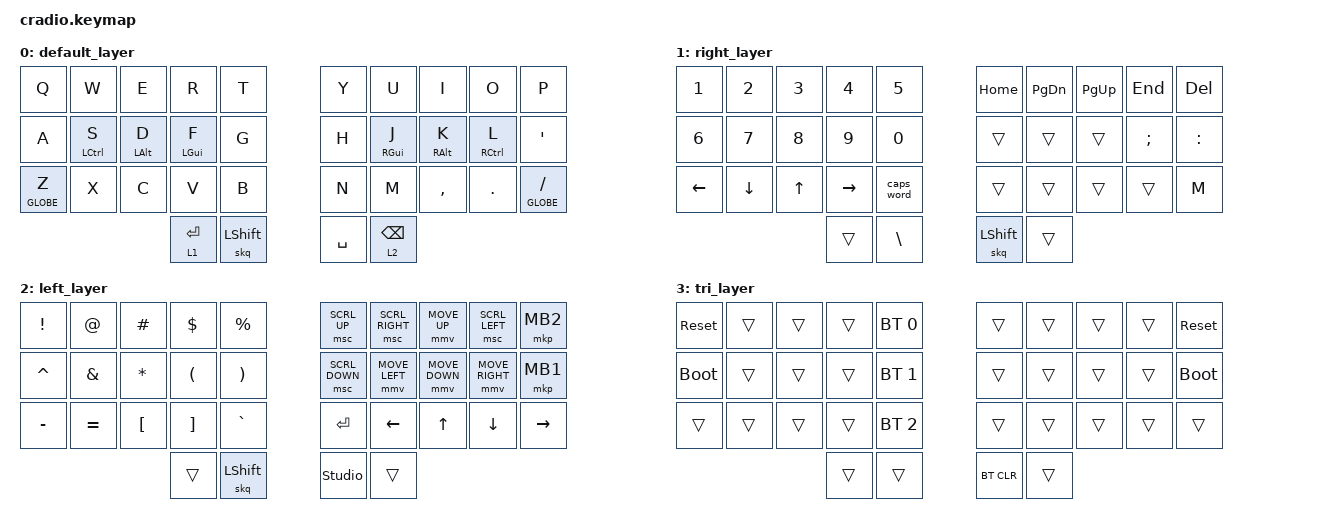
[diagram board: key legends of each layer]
// Copyright (c) 2022 The ZMK Contributors
// SPDX-License-Identifier: MIT

#define ZMK_POINTING_DEFAULT_MOVE_VAL 1500  // default: 600
#define ZMK_POINTING_DEFAULT_SCRL_VAL 20    // default: 10

#include <behaviors.dtsi>
#include <dt-bindings/zmk/bt.h>
#include <dt-bindings/zmk/keys.h>
#include <dt-bindings/zmk/pointing.h>

/ {
    behaviors {
        HML: hold_tap {
            compatible = "zmk,behavior-hold-tap";
            #binding-cells = <2>;
            flavor = "tap-preferred";
            tapping-term-ms = <220>;
            quick-tap-ms = <150>;
            require-prior-idle-ms = <100>;
            bindings = <&kp>, <&kp>;

            hold-trigger-key-positions = <5 6 7 8 9 15 16 17 18 19 25 26 27 28 29 32 33>;
        };

        HMR: HMR {
            compatible = "zmk,behavior-hold-tap";
            #binding-cells = <2>;
            flavor = "balanced";
            tapping-term-ms = <220>;
            quick-tap-ms = <150>;
            require-prior-idle-ms = <100>;
            bindings = <&kp>, <&kp>;

            label = "HMR";
            hold-trigger-key-positions = <0 1 2 3 4 10 11 12 13 14 20 21 22 23 24 30 31>;
        };

        skq: skq {
            compatible = "zmk,behavior-sticky-key";
            label = "SKQ";
            bindings = <&sk>;
            #binding-cells = <1>;
            release-after-ms = <1000>;
            quick-release;
            ignore-modifiers;
        };
    };

    conditional_layers {
        compatible = "zmk,conditional-layers";

        tri_layer {
            if-layers = <1 2>;
            then-layer = <3>;
        };
    };

    combos {
        compatible = "zmk,combos";

        PrevWord {
            bindings = <&kp LS(LA(LEFT_ARROW))>;
            key-positions = <10 11>;
            timeout-ms = <30>;
            require-prior-idle-ms = <200>;
            layers = <0>;
        };

        NextWord {
            bindings = <&kp LS(LA(RIGHT))>;
            key-positions = <18 19>;
            timeout-ms = <30>;
            require-prior-idle-ms = <200>;
            layers = <0>;
        };

        NextTab {
            bindings = <&kp LG(LS(RIGHT_BRACKET))>;
            key-positions = <5 6>;
            timeout-ms = <30>;
            require-prior-idle-ms = <200>;
            layers = <0>;
        };

        enter {
            bindings = <&kp ENTER>;
            key-positions = <2 3>;
            timeout-ms = <30>;
            require-prior-idle-ms = <200>;
            layers = <0>;
        };

        backspace {
            bindings = <&kp BACKSPACE>;
            key-positions = <6 7>;
            timeout-ms = <30>;
            require-prior-idle-ms = <200>;
            layers = <0>;
        };

        undo {
            bindings = <&kp LG(Z)>;
            key-positions = <20 21>;
            timeout-ms = <30>;
            require-prior-idle-ms = <200>;
            layers = <0>;
        };

        copy {
            bindings = <&kp LG(C)>;
            key-positions = <21 22>;
            timeout-ms = <30>;
            require-prior-idle-ms = <200>;
            layers = <0>;
        };

        paste {
            bindings = <&kp LG(V)>;
            key-positions = <22 23>;
            timeout-ms = <30>;
            require-prior-idle-ms = <200>;
            layers = <0>;
        };

        cut {
            bindings = <&kp LG(X)>;
            key-positions = <21 23>;
            timeout-ms = <30>;
            require-prior-idle-ms = <200>;
            layers = <0>;
        };

        delete {
            bindings = <&kp DELETE>;
            key-positions = <7 8>;
            timeout-ms = <30>;
            require-prior-idle-ms = <200>;
            layers = <0>;
        };

        find {
            bindings = <&kp LG(F)>;
            key-positions = <13 14>;
            timeout-ms = <30>;
            require-prior-idle-ms = <200>;
            layers = <0>;
        };

        PrevParagraph {
            bindings = <&kp LA(LS(UP_ARROW))>;
            key-positions = <12 11>;
            timeout-ms = <30>;
            require-prior-idle-ms = <200>;
            layers = <0>;
        };

        nextParagraph {
            bindings = <&kp LA(LS(DOWN))>;
            key-positions = <17 18>;
            timeout-ms = <30>;
            require-prior-idle-ms = <200>;
            layers = <0>;
        };

        tab {
            bindings = <&kp TAB>;
            key-positions = <0 1>;
            timeout-ms = <30>;
            require-prior-idle-ms = <200>;
            layers = <0>;
        };

        PrevTab {
            bindings = <&kp LG(LS(LEFT_BRACKET))>;
            key-positions = <3 4>;
            timeout-ms = <30>;
            require-prior-idle-ms = <200>;
            layers = <0>;
        };

        newTab {
            bindings = <&kp LG(T)>;
            key-positions = <15 16>;
            timeout-ms = <30>;
            require-prior-idle-ms = <200>;
            layers = <0>;
        };

        cycleWindows {
            bindings = <&kp LG(GRAVE)>;
            key-positions = <18 19>;
            timeout-ms = <30>;
            require-prior-idle-ms = <200>;
            layers = <0>;
        };

        esc {
            bindings = <&kp ESCAPE>;
            key-positions = <8 9>;
            timeout-ms = <30>;
            require-prior-idle-ms = <200>;
            layers = <0>;
        };

        shortcat {
            bindings = <&kp LG(LA(PIPE))>;
            key-positions = <28 29>;
            timeout-ms = <30>;
            require-prior-idle-ms = <200>;
            layers = <0>;
        };

        redo {
            bindings = <&kp LG(LS(Z))>;
            key-positions = <23 24>;
            timeout-ms = <30>;
            require-prior-idle-ms = <200>;
            layers = <0>;
        };

        minimize {
            bindings = <&kp LG(H)>;
            key-positions = <1 2>;
            timeout-ms = <30>;
            require-prior-idle-ms = <200>;
            layers = <0>;
        };

        zoomOut {
            bindings = <&kp LG(MINUS)>;
            key-positions = <25 26>;
            timeout-ms = <30>;
            require-prior-idle-ms = <200>;
            layers = <0>;
        };

        ZoomIn {
            bindings = <&kp LG(EQUAL)>;
            key-positions = <23 24>;
            timeout-ms = <30>;
            require-prior-idle-ms = <200>;
            layers = <0>;
        };
    };

    keymap {
        compatible = "zmk,keymap";

        default_layer {
            bindings = <
&kp Q         &kp W                &kp E            &kp R            &kp T              &kp Y      &kp U             &kp I             &kp O                 &kp P
&kp A         &HML LEFT_CONTROL S  &HML LEFT_ALT D  &HML LEFT_GUI F  &kp G              &kp H      &HMR RIGHT_GUI J  &HMR RIGHT_ALT K  &HMR RIGHT_CONTROL L  &kp SQT
&HML GLOBE Z  &kp X                &kp C            &kp V            &kp B              &kp N      &kp M             &kp COMMA         &kp DOT               &HMR GLOBE FSLH
                                                    &lt 1 ENTER      &skq LEFT_SHIFT    &kp SPACE  &lt 2 BSPC
            >;
        };

        right_layer {
            bindings = <
&kp NUMBER_1    &kp NUMBER_2    &kp NUMBER_3  &kp NUMBER_4  &kp N5           &kp HOME         &kp PG_DN  &kp PG_UP  &kp END   &kp DELETE
&kp NUMBER_6    &kp N7          &kp N8        &kp N9        &kp N0           &trans           &trans     &trans     &kp SEMI  &kp COLON
&kp LEFT_ARROW  &kp DOWN_ARROW  &kp UP_ARROW  &kp RIGHT     &caps_word       &trans           &trans     &trans     &trans    &kp M
                                              &trans        &kp BACKSLASH    &skq LEFT_SHIFT  &trans
            >;
        };

        left_layer {
            bindings = <
&kp EXCL   &kp AT     &kp HASH          &kp DOLLAR            &kp PERCENT              &msc SCRL_UP    &msc SCRL_RIGHT  &mmv MOVE_UP    &msc SCRL_LEFT   &mkp MB2
&kp CARET  &kp AMPS   &kp ASTERISK      &kp LEFT_PARENTHESIS  &kp RIGHT_PARENTHESIS    &msc SCRL_DOWN  &mmv MOVE_LEFT   &mmv MOVE_DOWN  &mmv MOVE_RIGHT  &mkp MB1
&kp MINUS  &kp EQUAL  &kp LEFT_BRACKET  &kp RIGHT_BRACKET     &kp GRAVE                &kp ENTER       &kp LEFT_ARROW   &kp UP_ARROW    &kp DOWN         &kp RIGHT
                                        &trans                &skq LEFT_SHIFT          &studio_unlock  &trans
            >;
        };

        tri_layer {
            bindings = <
&sys_reset   &trans  &trans  &trans  &bt BT_SEL 0    &trans      &trans  &trans  &trans  &sys_reset
&bootloader  &trans  &trans  &trans  &bt BT_SEL 1    &trans      &trans  &trans  &trans  &bootloader
&trans       &trans  &trans  &trans  &bt BT_SEL 2    &trans      &trans  &trans  &trans  &trans
                             &trans  &trans          &bt BT_CLR  &trans
            >;
        };
    };
};
